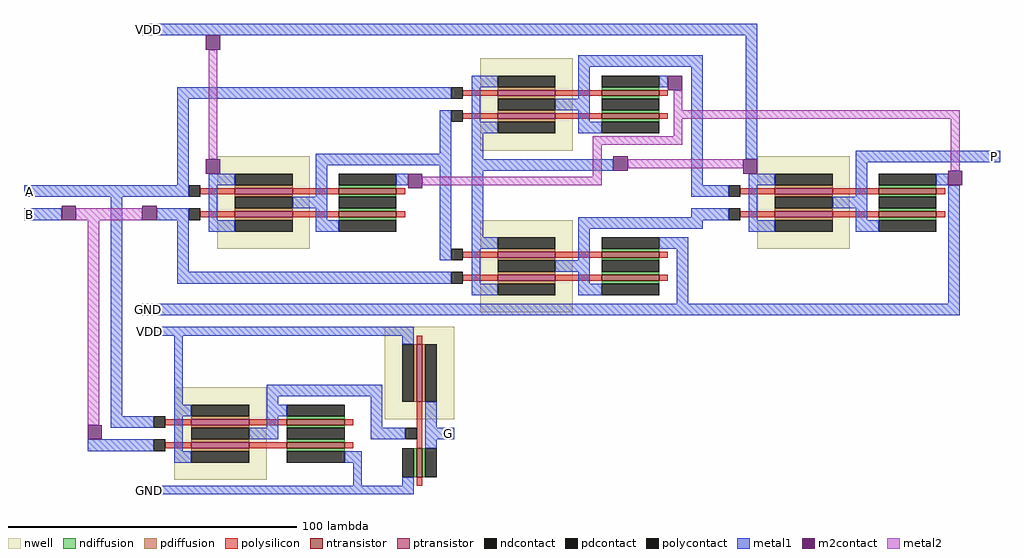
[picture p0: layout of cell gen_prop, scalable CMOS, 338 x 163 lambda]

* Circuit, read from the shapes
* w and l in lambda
.subckt gen_prop A B G GND P VDD
M1 n1 B GND VSUBS nfet w=20 l=2
M2 n2 A n1 VSUBS nfet w=20 l=2
M3 n3 B n4 VSUBS nfet w=20 l=2
M4 GND A n3 VSUBS nfet w=20 l=2
M5 G n2 GND VSUBS nfet w=10 l=2
M6 n5 B n6 VSUBS nfet w=20 l=2
M7 GND n4 n5 VSUBS nfet w=20 l=2
M8 n7 n4 n8 VSUBS nfet w=20 l=2
M9 GND A n7 VSUBS nfet w=20 l=2
M10 n9 n6 P VSUBS nfet w=20 l=2
M11 GND n8 n9 VSUBS nfet w=20 l=2
M12 n2 B VDD n10 pfet w=20 l=2
M13 VDD A n2 n10 pfet w=20 l=2
M14 n4 B VDD n11 pfet w=20 l=2
M15 VDD A n4 n11 pfet w=20 l=2
M16 G n2 VDD n12 pfet w=20 l=2
M17 n6 B VDD n13 pfet w=20 l=2
M18 VDD n4 n6 n13 pfet w=20 l=2
M19 n8 n4 VDD n14 pfet w=20 l=2
M20 VDD A n8 n14 pfet w=20 l=2
M21 P n6 VDD n15 pfet w=20 l=2
M22 VDD n8 P n15 pfet w=20 l=2
.ends

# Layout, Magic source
magic
tech scmos
<< nwell >>
rect 63 119 95 151
rect -28 85 4 117
rect 63 63 95 95
rect 159 85 191 117
rect -43 5 -11 37
rect 30 26 54 58
<< ntransistor >>
rect 105 138 125 140
rect 105 130 125 132
rect 14 104 34 106
rect 201 104 221 106
rect 14 96 34 98
rect 201 96 221 98
rect 105 82 125 84
rect 105 74 125 76
rect -4 24 16 26
rect -4 16 16 18
rect 41 6 43 16
<< ptransistor >>
rect 69 138 89 140
rect 69 130 89 132
rect -22 104 -2 106
rect 165 104 185 106
rect -22 96 -2 98
rect 165 96 185 98
rect 69 82 89 84
rect 69 74 89 76
rect 41 32 43 52
rect -37 24 -17 26
rect -37 16 -17 18
<< ndiffusion >>
rect 105 140 125 141
rect 105 137 125 138
rect 105 132 125 133
rect 105 129 125 130
rect 14 106 34 107
rect 14 103 34 104
rect 201 106 221 107
rect 14 98 34 99
rect 14 95 34 96
rect 201 103 221 104
rect 201 98 221 99
rect 201 95 221 96
rect 105 84 125 85
rect 105 81 125 82
rect 105 76 125 77
rect 105 73 125 74
rect -4 26 16 27
rect -4 23 16 24
rect -4 18 16 19
rect -4 15 16 16
rect 40 6 41 16
rect 43 6 44 16
<< pdiffusion >>
rect 69 140 89 141
rect 69 137 89 138
rect 69 132 89 133
rect 69 129 89 130
rect -22 106 -2 107
rect -22 103 -2 104
rect -22 98 -2 99
rect 165 106 185 107
rect 165 103 185 104
rect -22 95 -2 96
rect 165 98 185 99
rect 165 95 185 96
rect 69 84 89 85
rect 69 81 89 82
rect 69 76 89 77
rect 69 73 89 74
rect 40 32 41 52
rect 43 32 44 52
rect -37 26 -17 27
rect -37 23 -17 24
rect -37 18 -17 19
rect -37 15 -17 16
<< ndcontact >>
rect 105 141 125 145
rect 105 133 125 137
rect 105 125 125 129
rect 14 107 34 111
rect 201 107 221 111
rect 14 99 34 103
rect 201 99 221 103
rect 14 91 34 95
rect 201 91 221 95
rect 105 85 125 89
rect 105 77 125 81
rect 105 69 125 73
rect -4 27 16 31
rect -4 19 16 23
rect -4 11 16 15
rect 36 6 40 16
rect 44 6 48 16
<< pdcontact >>
rect 69 141 89 145
rect 69 133 89 137
rect 69 125 89 129
rect -22 107 -2 111
rect 165 107 185 111
rect -22 99 -2 103
rect 165 99 185 103
rect -22 91 -2 95
rect 165 91 185 95
rect 69 85 89 89
rect 69 77 89 81
rect 69 69 89 73
rect 36 32 40 52
rect 44 32 48 52
rect -37 27 -17 31
rect -37 19 -17 23
rect -37 11 -17 15
<< polysilicon >>
rect 57 138 69 140
rect 89 138 105 140
rect 125 138 128 140
rect 57 130 69 132
rect 89 130 105 132
rect 125 130 128 132
rect -34 104 -22 106
rect -2 104 14 106
rect 34 104 37 106
rect 153 104 165 106
rect 185 104 201 106
rect 221 104 224 106
rect -34 96 -22 98
rect -2 96 14 98
rect 34 96 37 98
rect 153 96 165 98
rect 185 96 201 98
rect 221 96 224 98
rect 57 82 69 84
rect 89 82 105 84
rect 125 82 128 84
rect 57 74 69 76
rect 89 74 105 76
rect 125 74 128 76
rect 41 52 43 55
rect -46 24 -37 26
rect -17 24 -4 26
rect 16 24 19 26
rect -46 16 -37 18
rect -17 16 -4 18
rect 16 16 19 18
rect 41 16 43 32
rect 41 3 43 6
<< polycontact >>
rect 53 137 57 141
rect 53 129 57 133
rect -38 103 -34 107
rect -38 95 -34 99
rect 149 103 153 107
rect 149 95 153 99
rect 53 81 57 85
rect 53 73 57 77
rect -50 23 -46 27
rect -50 15 -46 19
rect 37 19 41 23
<< metal1 >>
rect -54 159 159 163
rect 97 148 140 152
rect 60 141 69 145
rect -42 137 53 141
rect -42 107 -38 137
rect 49 118 53 133
rect 60 129 63 141
rect 97 137 101 148
rect 125 141 128 145
rect 89 133 101 137
rect 97 129 101 133
rect 6 114 53 118
rect -31 107 -22 111
rect -95 103 -38 107
rect -95 95 -82 99
rect -65 27 -61 103
rect -49 95 -38 99
rect -31 95 -28 107
rect 6 103 10 114
rect 34 107 38 111
rect -2 99 10 103
rect 6 95 10 99
rect -42 77 -38 95
rect -31 91 -22 95
rect 6 91 14 95
rect 49 81 53 114
rect 60 125 69 129
rect 97 125 105 129
rect 60 116 64 125
rect 60 112 109 116
rect 60 89 64 112
rect 136 107 140 148
rect 155 116 159 159
rect 193 115 243 119
rect 156 107 165 111
rect 136 103 149 107
rect 136 96 149 99
rect 97 95 149 96
rect 156 95 159 107
rect 193 103 197 115
rect 221 107 225 111
rect 185 99 197 103
rect 193 95 197 99
rect 97 92 140 95
rect 60 85 69 89
rect -42 73 53 77
rect 60 73 63 85
rect 97 81 101 92
rect 156 91 165 95
rect 193 91 201 95
rect 125 85 135 89
rect 89 77 101 81
rect 97 73 101 77
rect 60 69 69 73
rect 97 69 105 73
rect 131 66 135 85
rect 225 66 229 107
rect -54 62 229 66
rect -54 55 40 58
rect -43 31 -40 55
rect 36 52 40 55
rect -11 34 29 38
rect -11 31 -7 34
rect -43 27 -37 31
rect -11 27 -4 31
rect -65 23 -50 27
rect -73 15 -50 19
rect -43 15 -40 27
rect -11 23 -7 27
rect 25 23 29 34
rect 44 23 48 32
rect -17 19 -7 23
rect 25 19 37 23
rect 44 19 54 23
rect 44 16 48 19
rect -43 11 -37 15
rect 16 11 22 15
rect 19 3 22 11
rect 36 3 40 6
rect -54 0 40 3
<< m2contact >>
rect -32 154 -27 159
rect 128 140 133 145
rect -32 111 -27 116
rect -82 95 -77 100
rect -54 95 -49 100
rect 38 106 43 111
rect 109 112 114 117
rect 154 111 159 116
rect 225 107 230 112
rect -73 19 -68 24
<< metal2 >>
rect -31 116 -28 154
rect 130 133 133 140
rect 130 130 229 133
rect 130 124 133 130
rect 102 121 133 124
rect 102 110 105 121
rect 114 113 154 116
rect 226 112 229 130
rect 43 107 105 110
rect -77 95 -54 99
rect -73 24 -69 95
<< labels >>
rlabel metal1 -54 55 -49 58 4 VDD
rlabel metal1 -54 0 -49 3 2 GND
rlabel metal1 -54 159 -50 163 4 VDD
rlabel metal1 -54 62 -50 66 2 GND
rlabel metal1 -95 95 -91 99 3 B
rlabel metal1 -95 103 -91 107 3 A
rlabel metal1 50 19 54 23 1 G
rlabel metal1 239 115 243 119 7 P
<< end >>
